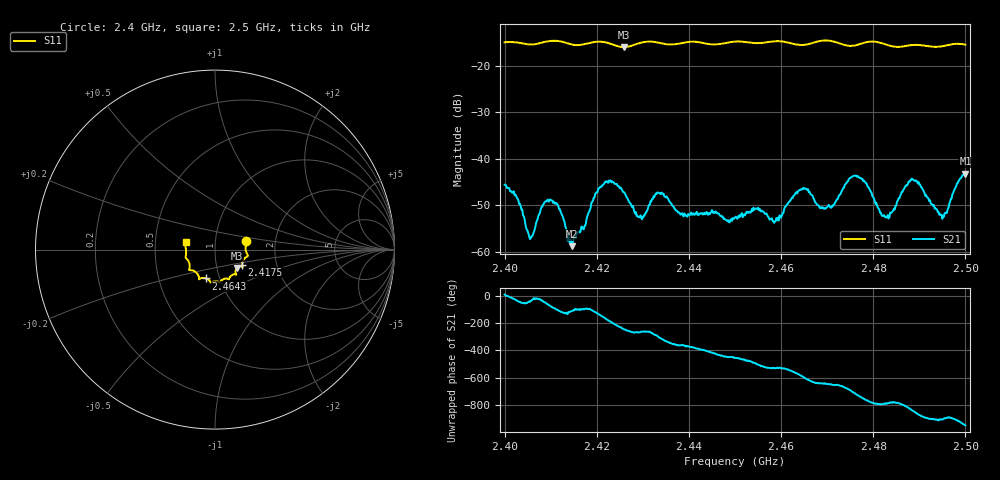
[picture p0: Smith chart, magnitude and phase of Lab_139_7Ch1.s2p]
# Hz S RI R 50
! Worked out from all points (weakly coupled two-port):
!   601 points, 2.4 GHz to 2.5 GHz, reference 50 ohm
!   highest |S21| = -43.21 dB at 2.5 GHz (marker M1); lowest = -58.8 dB at 2.4147 GHz (marker M2)
!   lowest |S11| = -15.9 dB at 2.4258 GHz (marker M3), VSWR 1.38, Z = 62.3 - j13.2 ohm
!   |S11| at or under -10 dB: start of sweep to end of sweep
!   S12 and S22 are empty: the file has one direction only
!   S11 on the Smith chart (normalised r, x): 2.4 GHz: 1.41, +0.14; 2.4175 GHz: 1.33, -0.23; 2.4643 GHz: 0.86, -0.29; 2.5 GHz: 0.72, +0.06
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2.4e9  0.1732 0.0485  0.00519 0.000851  0 0  0 0
2.4025e9  0.1761 0.0383  0.0034 -0.0021  0 0  0 0
2.4055e9  0.1702 0.00867  0.000989 -0.000947  0 0  0 0
2.409833e9  0.1828 -0.0327  0.00115 -0.00347  0 0  0 0
2.414667e9  0.1619 -0.0518  -0.000406 -0.00107  0 0  0 0
2.416667e9  0.1524 -0.074  -0.000315 -0.00184  0 0  0 0
2.4175e9  0.1513 -0.0835  -0.000143 -0.00191  0 0  0 0
2.421667e9  0.1533 -0.096  -0.00518 -0.00181  0 0  0 0
2.425833e9  0.1219 -0.103  -0.00192 0.00395  0 0  0 0
2.4295e9  0.1159 -0.1347  -0.000229 0.00246  0 0  0 0
2.433333e9  0.1136 -0.1373  0.00211 0.00379  0 0  0 0
2.439167e9  0.0795 -0.1605  0.00248 -0.000415  0 0  0 0
2.45e9  0.0282 -0.1814  -0.000187 -0.00232  0 0  0 0
2.459e9  -0.023 -0.1837  -0.00227 -0.00042  0 0  0 0
2.464333e9  -0.0499 -0.1608  -0.00333 0.00332  0 0  0 0
2.466667e9  -0.0763 -0.1587  -0.000193 0.00408  0 0  0 0
2.471e9  -0.0882 -0.1632  0.00109 0.00282  0 0  0 0
2.476333e9  -0.1198 -0.1173  0.00658 -0.000295  0 0  0 0
2.483333e9  -0.1408 -0.0898  0.000945 -0.00208  0 0  0 0
2.4885e9  -0.1619 -0.0465  -0.00305 -0.00527  0 0  0 0
2.4955e9  -0.1645 0.0155  -0.00261 -0.000105  0 0  0 0
2.5e9  -0.1643 0.0434  -0.00446 0.00528  0 0  0 0
